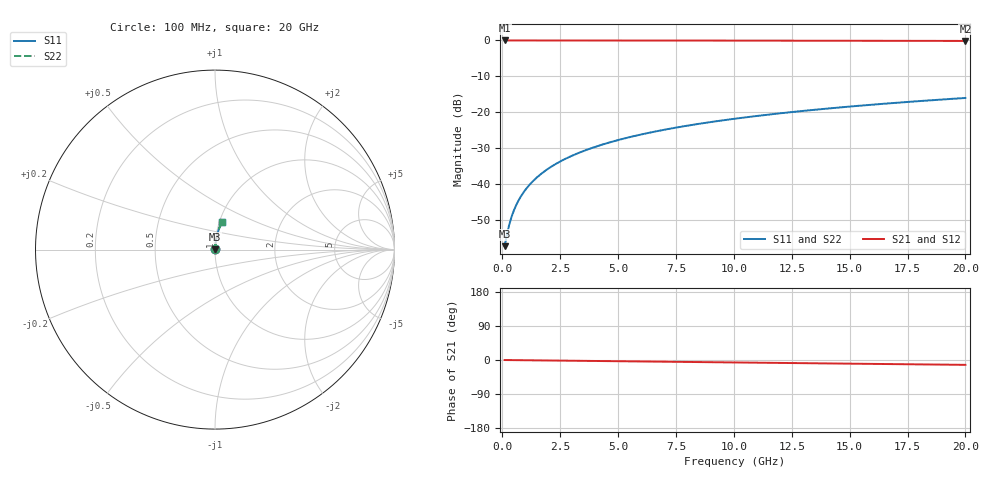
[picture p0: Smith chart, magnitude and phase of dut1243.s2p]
! Touchstone file exported from HFSS 2026.1.0
!  File:  C:/ffzhzh/LocalFiles/Ansys_Project_Files/temp_train_TSV_1243_1783193526_22436.aedt
!  Generated:  03:34:54 AM Jul  5, 2026
!  Design:  TSV
!  Project:  temp_train_TSV_1243_1783193526_22436
! Variables:
!  h_bsmrdl = 2um
!  h_ox = 20um
!  h_rdl = 5um
!  h_sub = 83.04um
!  h_tmrdl = 5um
!  h_tsv = 83.04um
!  h_via = 3um
!  l_bsmrdl = 300um
!  l_sub = 405.98um
!  l_tmrdl = 200um
!  m_sub = 200um
!  pitch = 59.33um
!  r_tsv = 2.99um
!  s_tmrdl = 10um
!  w_bsmrdl = 18um
!  w_sub = 500um
!  w_tmrdl = 12um
!  x_tsv_center1 = 206um
!  x_tsv_center2 = 524um
!  x_tsv_center3 = 736um
!  x_tsv_center4 = 1054um
!  x_tsv_center5 = 1266um
!  x_tsv_center6 = 1584um
# GHz S MA R 50.000000
! Terminal data exported
! Port[1] = TSV1_1_T1
! Port[2] = TSV1_1_T2
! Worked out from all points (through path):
!   200 points, 100 MHz to 20 GHz, reference 50 ohm
!   highest |S21| = -0.01 dB at 100 MHz (marker M1); lowest = -0.1 dB at 20 GHz (marker M2)
!   group delay of S21, straight-line fit = 1.78 ps
!   lowest |S11| = -57.3 dB at 100 MHz (marker M3), VSWR 1.00, Z = 50.1 + j0.0835 ohm
!   |S11| at or under -10 dB: start of sweep to end of sweep
!   |S22| runs from -57.3 to -16.0 dB; largest |S21 - S12| = 3.6e-15
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0.1  0.001368 37.6  0.9989 -0.1  0.9989 -0.1  0.001368 37.6
! Gamma 0 0 0 0
! Port Impedance 50 0 50 0
0.2  0.001992 56.7  0.9989 -0.1  0.9989 -0.1  0.001992 56.7
0.3  0.002727 66.1  0.9989 -0.2  0.9989 -0.2  0.002727 66.1
0.4  0.003502 71.3  0.9989 -0.3  0.9989 -0.3  0.003502 71.3
0.5  0.004294 74.7  0.9989 -0.3  0.9989 -0.3  0.004294 74.7
0.6  0.005096 76.9  0.9989 -0.4  0.9989 -0.4  0.005096 76.9
0.8  0.006715 79.8  0.9988 -0.5  0.9988 -0.5  0.006715 79.8
1.1  0.009161 82.1  0.9988 -0.7  0.9988 -0.7  0.009161 82.1
1.5  0.01244 83.6  0.9987 -1.0  0.9987 -1.0  0.01244 83.6
1.8  0.0149 84.2  0.9987 -1.2  0.9987 -1.2  0.0149 84.2
2.1  0.01736 84.6  0.9986 -1.4  0.9986 -1.4  0.01736 84.6
2.7  0.02227 84.9  0.9985 -1.8  0.9985 -1.8  0.02227 84.9
3.5  0.02882 85.0  0.9982 -2.3  0.9982 -2.3  0.02882 85.0
4.2  0.03452 84.8  0.9979 -2.8  0.9979 -2.8  0.03452 84.8
5  0.04102 84.5  0.9976 -3.3  0.9976 -3.3  0.04102 84.5
5.9  0.04829 84.1  0.9971 -3.9  0.9971 -3.9  0.04829 84.1
6.8  0.05553 83.6  0.9966 -4.4  0.9966 -4.4  0.05553 83.6
8.3  0.06751 82.8  0.9956 -5.4  0.9956 -5.4  0.06751 82.8
10.1  0.08178 81.8  0.9943 -6.6  0.9943 -6.6  0.08178 81.8
13.4  0.1076 79.9  0.9914 -8.6  0.9914 -8.6  0.1076 79.9
16.7  0.1331 77.9  0.988 -10.7  0.988 -10.7  0.1331 77.9
20  0.1581 76.0  0.984 -12.8  0.984 -12.8  0.1581 76.0
